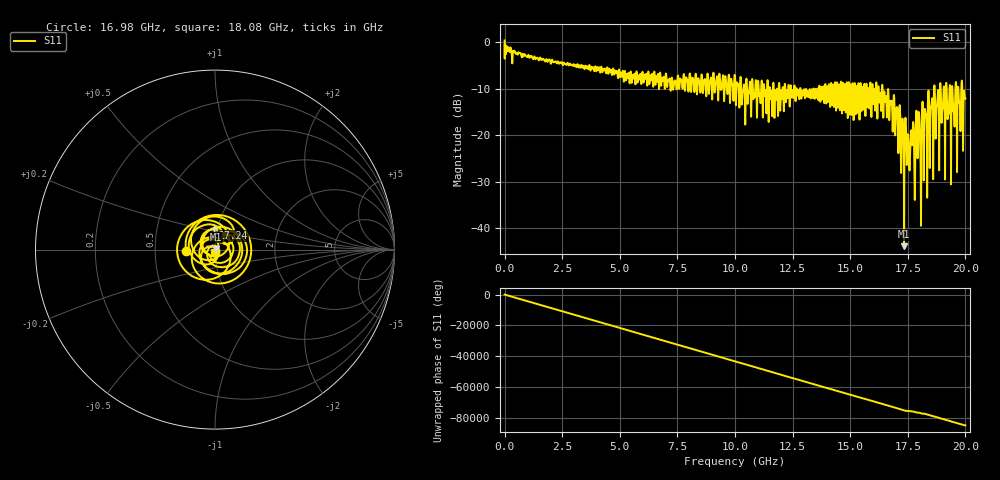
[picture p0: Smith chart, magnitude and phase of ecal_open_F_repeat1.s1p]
! MS46122B
! 2250307/22442219
! 7/28/2025 8:04:51 AM
! C:\USERS\SPARKY\DOCUMENTS\VNA_DATA\JULY28_2025\295K\ECAL_OPEN_F_REPEAT1.S1P
! CHANNEL.1
! TR.MEASUREMENT
! RAW.DATA
# GHZ S RI R 50.0
! FREQ.GHZ  S11RE  S11IM
!; PortSelection: Port_1
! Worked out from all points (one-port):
!   10001 points, 1 MHz to 20 GHz, reference 50 ohm
!   lowest |S11| = -43.8 dB at 17.34 GHz (marker M1), VSWR 1.01, Z = 50.6 + j0.34 ohm
!   |S11| at or under -10 dB: 12.84 GHz to 13.08 GHz (236.4 MHz wide, 1.82 % of centre); 13.08 GHz to 13.41 GHz (322 MHz wide, 2.43 % of centre); 16.41 GHz to 18.64 GHz (2.235 GHz wide, 12.8 % of centre) (the widest 3 of 87)
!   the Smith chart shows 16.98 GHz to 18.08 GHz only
!   S11 on the Smith chart (normalised r, x): 16.98 GHz: 0.72, -0.01; 17.24 GHz: 0.96, +0.23; 18.08 GHz: 0.99, -0.03
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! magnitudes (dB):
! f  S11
! 1 MHz  0.4
! 2.501 GHz  -4.5
! 5.001 GHz  -7.0
! 7.501 GHz  -8.0
! 10 GHz  -7.3
! 11.54 GHz  -12.1
! 12.5 GHz  -10.3
! 15 GHz  -11.3
! 16.31 GHz  -11.0
! 16.98 GHz  -15.9
! 17.24 GHz  -18.4
! 17.34 GHz  -43.8
! 17.5 GHz  -19.8
! 17.86 GHz  -16.2
! 17.93 GHz  -23.5
! 18 GHz  -16.4
! 18.08 GHz  -36.5
! 18.12 GHz  -14.4
! 18.2 GHz  -23.0
! 18.27 GHz  -15.3
! 18.32 GHz  -19.4
! 18.73 GHz  -15.9
! 18.78 GHz  -12.4
! 19.25 GHz  -15.3
! 19.45 GHz  -12.1
! 19.51 GHz  -14.9
! 19.56 GHz  -11.4
! 20 GHz  -12.1
